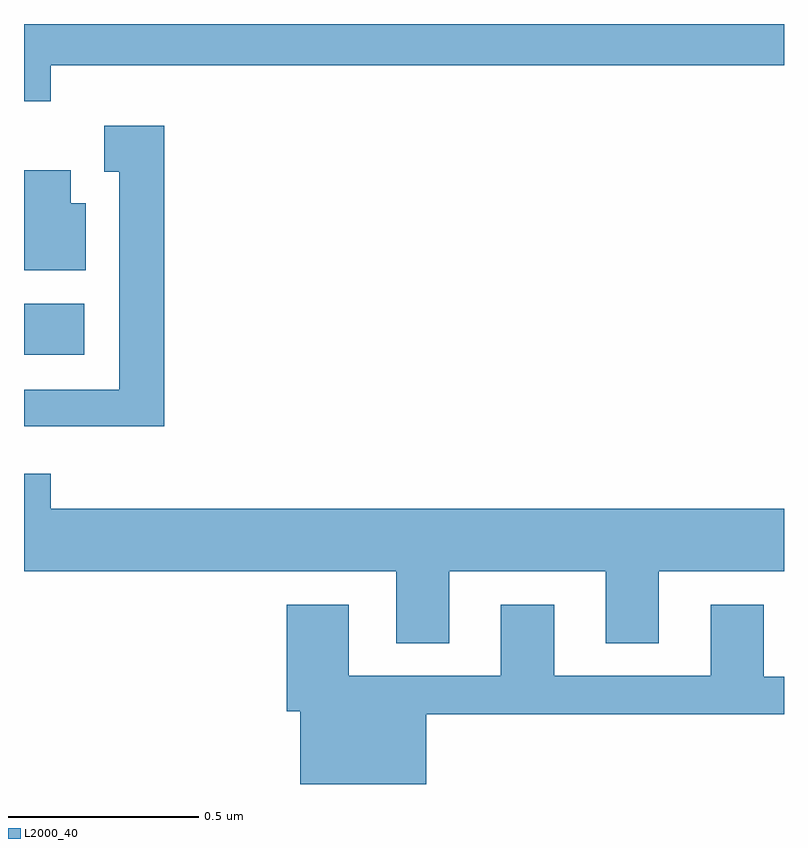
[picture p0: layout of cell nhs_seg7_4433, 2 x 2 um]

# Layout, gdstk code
import gdstk
lib = gdstk.Library(unit=1e-6, precision=1e-09)
def R(c, l, rs):  # rectangles x0, y0, x1, y1
    for r in rs: c.add(gdstk.rectangle(r[:2], r[2:], *l))
def P(c, l, *ps):  # polygons
    for p in ps: c.add(gdstk.Polygon(p, *l))
L2000_40 = (2000, 40)

nhs_seg7_4433 = lib.new_cell('nhs_seg7_4433')
R(nhs_seg7_4433, L2000_40, [(172,1057.13,172.159,1057.264)])
P(nhs_seg7_4433, L2000_40, [(172.07,1057.892),(174,1057.892),(174,1058),(172,1058),(172,1057.797),(172.07,1057.797)],
  [(172.369,1057.732),(172.211,1057.732),(172.211,1057.611),(172.25,1057.611),(172.25,1057.038),(172,1057.038),(172,1056.942),(172.128,1056.942),(172.128,1056.941),(172.369,1056.941)],
  [(172.162,1057.528),(172.123,1057.528),(172.123,1057.615),(172,1057.615),(172,1057.352),(172.162,1057.352)],
  [(173.119,1056.56),(173.531,1056.56),(173.531,1056.37),(173.671,1056.37),(173.671,1056.56),(174,1056.56),(174,1056.724),(172.07,1056.724),(172.07,1056.817),(172,1056.817),(172,1056.56),(172.979,1056.56),(172.979,1056.37),(173.119,1056.37)],
  [(173.059,1056.184),(174,1056.184),(174,1056.282),(173.947,1056.282),(173.947,1056.472),(173.807,1056.472),(173.807,1056.285),(173.395,1056.285),(173.395,1056.472),(173.255,1056.472),(173.255,1056.285),(172.855,1056.285),(172.855,1056.472),(172.691,1056.472),(172.691,1056.192),(172.727,1056.192),(172.727,1056),(173.059,1056)])

lib.write_gds('nhs_seg7_4433.gds')
